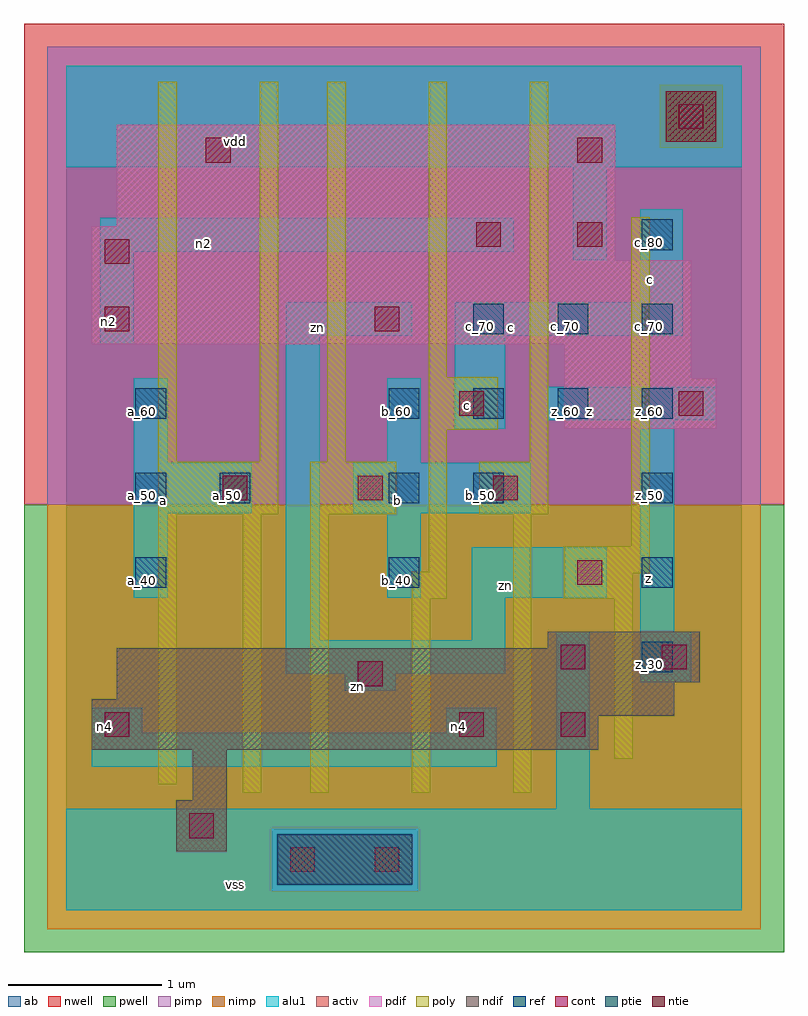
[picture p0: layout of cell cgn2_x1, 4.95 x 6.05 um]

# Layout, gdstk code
import gdstk
lib = gdstk.Library(unit=1e-6, precision=2.5e-09)
def R(c, l, rs):  # rectangles x0, y0, x1, y1
    for r in rs: c.add(gdstk.rectangle(r[:2], r[2:], *l))
def A(c, l, x, y, w, h, nx, ny, dx, dy):  # array of equal rectangles
    R(c, l, [(x+i*dx, y+j*dy, x+i*dx+w, y+j*dy+h) for i in range(nx) for j in range(ny)])
ndif = (3, 0)
pdif = (4, 0)
ntie = (5, 0)
ptie = (6, 0)
ref = (24, 0)
cont = (25, 0)
pwell = (41, 0)
nwell = (42, 0)
activ = (43, 0)
pimp = (44, 0)
nimp = (45, 0)
poly = (46, 0)
alu1 = (49, 0)
ab = (63, 0)

cgn2_x1 = lib.new_cell('cgn2_x1')
R(cgn2_x1, ndif, [(0.715,0.385,1.045,0.715), (0.825,0.715,1.045,1.045), (0.165,1.045,3.465,1.265), (0.165,1.265,3.96,1.375), (0.33,1.375,3.96,1.485), (0.33,1.485,4.125,1.705), (3.135,1.705,4.125,1.815)])
R(cgn2_x1, pdif, [(3.245,3.135,4.235,3.465), (3.245,3.465,4.07,3.685), (0.165,3.685,4.07,4.235), (0.165,4.235,3.575,4.455), (0.33,4.455,3.575,5.115)])
R(cgn2_x1, ntie, [(3.905,5.005,4.235,5.335)])
R(cgn2_x1, ptie, [(1.375,0.165,2.255,0.495)])
A(cgn2_x1, ref, 0.45, 2.1, 0.2, 0.2, 3, 1, 1.65, 0)
A(cgn2_x1, ref, 2.1, 3.2, 0.2, 0.2, 4, 1, 0.55, 0)
A(cgn2_x1, ref, 2.65, 3.75, 0.2, 0.2, 3, 1, 0.55, 0)
R(cgn2_x1, ref, [(3.75,1.55,3.95,1.75), (0.45,2.65,0.65,2.85), (1,2.65,1.2,2.85), (2.1,2.65,2.3,2.85), (2.65,2.65,2.85,2.85), (3.75,2.65,3.95,2.85), (0.45,3.2,0.65,3.4), (3.75,4.3,3.95,4.5)])
A(cgn2_x1, cont, 1.02, 2.67, 0.16, 0.16, 3, 1, 0.88, 0)
R(cgn2_x1, cont, [(1.46,0.25,1.62,0.41), (2.01,0.25,2.17,0.41), (0.8,0.47,0.96,0.63), (0.25,1.13,0.41,1.29), (2.56,1.13,2.72,1.29), (3.22,1.13,3.38,1.29), (1.9,1.46,2.06,1.62), (3.22,1.57,3.38,1.73), (3.88,1.57,4.04,1.73), (3.33,2.12,3.49,2.28), (2.56,3.22,2.72,3.38), (3.99,3.22,4.15,3.38), (0.25,3.77,0.41,3.93), (2.01,3.77,2.17,3.93), (0.25,4.21,0.41,4.37), (2.67,4.32,2.83,4.48), (3.33,4.32,3.49,4.48), (0.91,4.87,1.07,5.03), (3.33,4.87,3.49,5.03), (3.99,5.09,4.15,5.25)])
R(cgn2_x1, pwell, [(-0.275,-0.275,4.675,2.64)])
R(cgn2_x1, nwell, [(-0.275,2.64,4.675,5.775)])
R(cgn2_x1, activ, [(1.375,0.165,2.255,0.495), (0.715,0.385,1.045,0.715), (0.825,0.715,1.045,1.045), (0.165,1.045,3.465,1.265), (0.165,1.265,3.96,1.375), (0.33,1.375,3.96,1.485), (0.33,1.485,4.125,1.705), (3.135,1.705,4.125,1.815), (3.245,3.135,4.235,3.465), (3.245,3.465,4.07,3.685), (0.165,3.685,4.07,4.235), (0.165,4.235,3.575,4.455), (0.33,4.455,3.575,5.115), (3.905,5.005,4.235,5.335)])
R(cgn2_x1, pimp, [(1.335,0.125,2.295,0.535), (-0.125,2.64,4.525,4.965), (-0.125,4.965,3.865,5.375), (4.275,4.965,4.525,5.375), (-0.125,5.375,4.525,5.625)])
R(cgn2_x1, nimp, [(-0.125,-0.125,4.525,0.125), (-0.125,0.125,1.335,0.535), (2.295,0.125,4.525,0.535), (-0.125,0.535,4.525,2.64), (3.865,4.965,4.275,5.375)])
R(cgn2_x1, poly, [(1.15,0.765,1.27,2.58), (1.59,0.765,1.71,2.58), (2.25,0.765,2.37,2.03), (2.91,0.765,3.03,2.58), (0.6,0.82,0.72,2.58), (3.57,0.985,3.69,2.03), (2.25,2.03,2.48,2.205), (3.24,2.03,3.69,2.195), (3.24,2.195,3.8,2.37), (2.36,2.205,2.48,3.13), (3.68,2.37,3.8,4.515), (0.6,2.58,1.38,2.92), (1.59,2.58,2.15,2.92), (2.69,2.58,3.14,2.92), (0.6,2.92,0.72,5.395), (1.26,2.92,1.38,5.395), (1.7,2.92,1.82,5.395), (3.02,2.92,3.14,5.395), (2.36,3.13,2.81,3.47), (2.36,3.47,2.48,5.395)])
R(cgn2_x1, alu1, [(0,0,4.4,0.66), (3.19,0.66,3.41,1.815), (0.165,0.935,2.805,1.155), (0.165,1.155,0.495,1.32), (2.475,1.155,2.805,1.32), (1.815,1.43,2.145,1.54), (3.74,1.485,4.07,1.815), (1.43,1.54,2.86,1.76), (1.43,1.76,1.65,3.74), (2.64,1.76,2.86,2.035), (3.74,1.815,3.96,3.19), (0.44,2.035,0.66,2.585), (2.09,2.035,2.31,2.585), (2.64,2.035,3.52,2.365), (0.44,2.585,1.21,2.915), (1.87,2.585,3.025,2.915), (0.44,2.915,0.66,3.465), (2.09,2.915,2.31,3.465), (2.53,3.135,2.86,3.74), (3.135,3.19,4.235,3.41), (0.22,3.685,0.44,4.29), (1.43,3.74,2.255,3.96), (2.53,3.74,4.015,3.96), (3.74,3.96,4.015,4.565), (3.3,4.235,3.52,4.84), (0.22,4.29,2.915,4.51), (0,4.84,4.4,5.5)])
R(cgn2_x1, ab, [(0,0,4.4,5.5)])
cgn2_x1.add(gdstk.Label('vss', (1.1,0.165), layer=49, texttype=0))
cgn2_x1.add(gdstk.Label('n4', (2.5575,1.195), layer=49, texttype=0))
cgn2_x1.add(gdstk.Label('n4', (0.2475,1.195), layer=49, texttype=0))
cgn2_x1.add(gdstk.Label('zn', (1.8975,1.4575), layer=49, texttype=0))
cgn2_x1.add(gdstk.Label('z', (3.795,2.1575), layer=49, texttype=0))
cgn2_x1.add(gdstk.Label('zn', (2.86,2.1175), layer=49, texttype=0))
cgn2_x1.add(gdstk.Label('b', (2.1575,2.6675), layer=49, texttype=0))
cgn2_x1.add(gdstk.Label('z', (3.41,3.245), layer=49, texttype=0))
cgn2_x1.add(gdstk.Label('c', (2.6125,3.285), layer=49, texttype=0))
cgn2_x1.add(gdstk.Label('a', (0.6325,2.6675), layer=49, texttype=0))
cgn2_x1.add(gdstk.Label('c', (2.9,3.795), layer=49, texttype=0))
cgn2_x1.add(gdstk.Label('zn', (1.635,3.795), layer=49, texttype=0))
cgn2_x1.add(gdstk.Label('c', (3.8075,4.11), layer=49, texttype=0))
cgn2_x1.add(gdstk.Label('n2', (0.275,3.835), layer=49, texttype=0))
cgn2_x1.add(gdstk.Label('n2', (0.8925,4.345), layer=49, texttype=0))
cgn2_x1.add(gdstk.Label('vdd', (1.1,5.005), layer=49, texttype=0))
cgn2_x1.add(gdstk.Label('b_50', (2.7,2.7), layer=24, texttype=0))
cgn2_x1.add(gdstk.Label('z_60', (3.25,3.25), layer=24, texttype=0))
cgn2_x1.add(gdstk.Label('b_60', (2.15,3.25), layer=24, texttype=0))
cgn2_x1.add(gdstk.Label('z_30', (3.8,1.6), layer=24, texttype=0))
cgn2_x1.add(gdstk.Label('z_60', (3.8,3.25), layer=24, texttype=0))
cgn2_x1.add(gdstk.Label('z_50', (3.8,2.7), layer=24, texttype=0))
cgn2_x1.add(gdstk.Label('z_40', (3.8,2.15), layer=24, texttype=0))
cgn2_x1.add(gdstk.Label('c_70', (3.25,3.8), layer=24, texttype=0))
cgn2_x1.add(gdstk.Label('c_70', (2.7,3.8), layer=24, texttype=0))
cgn2_x1.add(gdstk.Label('c_60', (2.7,3.25), layer=24, texttype=0))
cgn2_x1.add(gdstk.Label('b_40', (2.15,2.15), layer=24, texttype=0))
cgn2_x1.add(gdstk.Label('a_50', (1.05,2.7), layer=24, texttype=0))
cgn2_x1.add(gdstk.Label('a_40', (0.5,2.15), layer=24, texttype=0))
cgn2_x1.add(gdstk.Label('a_50', (0.5,2.7), layer=24, texttype=0))
cgn2_x1.add(gdstk.Label('a_60', (0.5,3.25), layer=24, texttype=0))
cgn2_x1.add(gdstk.Label('b_50', (2.15,2.7), layer=24, texttype=0))
cgn2_x1.add(gdstk.Label('c_80', (3.8,4.35), layer=24, texttype=0))
cgn2_x1.add(gdstk.Label('c_70', (3.8,3.8), layer=24, texttype=0))

lib.write_gds('cgn2_x1.gds')
